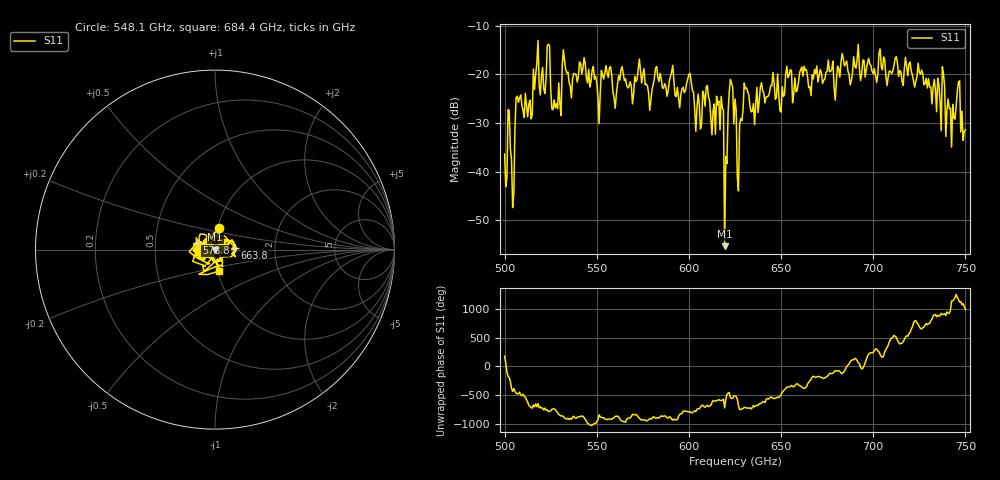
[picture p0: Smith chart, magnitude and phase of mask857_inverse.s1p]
!Created with skrf (http://scikit-rf.org).
# GHz S MA R 50.0
!freq magS11 angS11
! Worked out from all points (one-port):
!   401 points, 500 GHz to 750 GHz, reference 50 ohm
!   lowest |S11| = -55.3 dB at 619.4 GHz (marker M1), VSWR 1.00, Z = 50.2 + j0.00679 ohm
!   |S11| at or under -10 dB: start of sweep to end of sweep
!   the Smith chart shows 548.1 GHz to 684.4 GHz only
!   S11 on the Smith chart (normalised r, x): 548.1 GHz: 1.02, +0.24; 573.8 GHz: 0.81, +0.06; 663.8 GHz: 1.25, +0.03; 684.4 GHz: 1.01, -0.25
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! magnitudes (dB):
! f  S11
! 500 GHz  -36.4
! 502.5 GHz  -27.5
! 504.4 GHz  -47.4
! 507.5 GHz  -25.7
! 513.8 GHz  -25.3
! 516.9 GHz  -19.9
! 523.8 GHz  -13.8
! 526.9 GHz  -25.2
! 531.2 GHz  -18.3
! 548.1 GHz  -18.4
! 562.5 GHz  -21.2
! 573.8 GHz  -19.2
! 593.8 GHz  -22.7
! 616.2 GHz  -25.5
! 619.4 GHz  -55.3
! 620.6 GHz  -38.3
! 622.5 GHz  -21.0
! 625 GHz  -25.1
! 627.5 GHz  -30.4
! 631.2 GHz  -22.8
! 656.2 GHz  -25.9
! 663.8 GHz  -19.0
! 684.4 GHz  -18.3
! 687.5 GHz  -22.2
! 718.8 GHz  -20.3
! 743.1 GHz  -26.2
! 745.6 GHz  -23.4
! 750 GHz  -31.4
